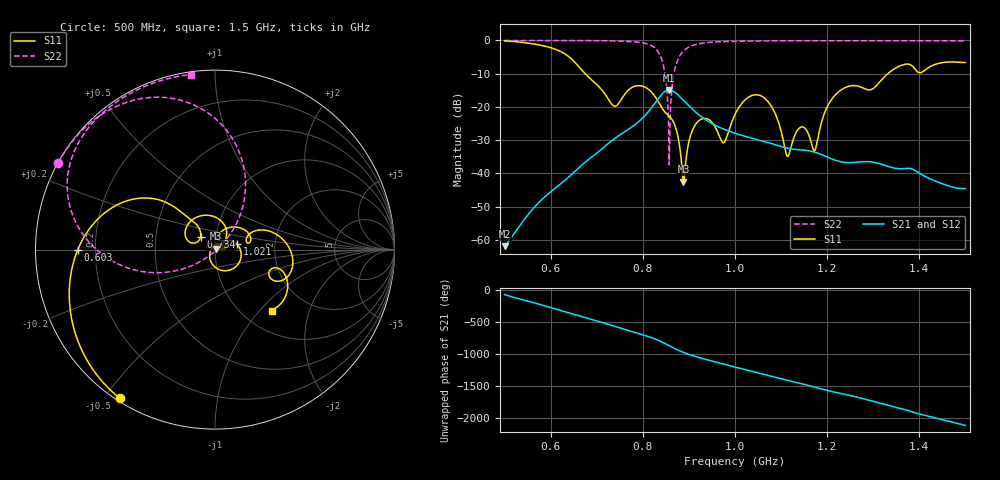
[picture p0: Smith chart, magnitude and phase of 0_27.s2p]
! TOUCHSTONE file generated by CST MICROWAVE STUDIO
! Date and time: Mon Sep 28 14:12:26 2020
! Project name: Scenario_1_Free_SPace.cst
! Parameters = {dx1=623.6; L_HA=400; MT=2.54; Rad_Dielectric=30; Rad_Lower=7.3; Rad_Upper=30; a_HA=580; a_WG=246; b_HA=500; b_WG=121; c_HA=0; c_WG=187; d_feed=85; h_feed=15; h_lower=18; h_upper=40}
! Header version: 2018
! Port assignment regex: !\s*Touchstone port\s*([0-9]+)\s*=\s*(CST MWS port|CST DS port)\s*([0-9]+|Zmin|Zmax)\s*\(\"(.*)\"\)(\s*mode\s*([0-9]+))?.*
! Touchstone port assignment:
! Touchstone port 1 = CST MWS port 1 ("")
! Touchstone port 2 = CST MWS port 2 ("")
# GHz S DB R 50
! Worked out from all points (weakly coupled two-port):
!   1003 points, 500 MHz to 1.5 GHz, reference 50 ohm
!   highest |S21| = -14.87 dB at 857 MHz (marker M1); lowest = -61.8 dB at 500 MHz (marker M2)
!   lowest |S11| = -42.4 dB at 888 MHz (marker M3), VSWR 1.02, Z = 50.6 + j0.484 ohm
!   |S11| at or under -10 dB: 674.8 MHz to 1.332 GHz (656.7 MHz wide, 65.5 % of centre)
!   |S22| runs from -37.4 to 0.0 dB; largest |S21 - S12| = 4.9e-06
!   S11 on the Smith chart (normalised r, x): 500 MHz: 0.01, -0.55; 603 MHz: 0.13, -0.00; 734 MHz: 0.84, +0.12; 1.021 GHz: 1.28, +0.08; 1.5 GHz: 1.35, -1.17
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0.5  -0.15 -122.6  -61.85 -76.4  -61.85 -76.4  -0.01 151.1
0.603  -2.32 -179.7  -45.17 74.8  -45.17 74.8  -0.02 143.9
0.667  -8.81 135.2  -37.51 -56.8  -37.51 -56.8  -0.04 138.3
0.734  -19.38 138.3  -29.98 160.1  -29.98 160.1  -0.15 130.1
0.789  -13.61 129.5  -24.65 40.6  -24.65 40.6  -0.51 117.4
0.834  -18.52 56.8  -17.42 -69.1  -17.42 -69.1  -3.59 83.9
0.847  -21.38 45.3  -15.43 -114.1  -15.43 -114.1  -9.16 61.3
0.857  -22.68 35.4  -14.87 -152.7  -14.87 -152.7  -37.39 12.0
0.868  -25.01 14.9  -15.44 166.1  -15.44 166.1  -9.58 -157.2
0.888  -42.43 39.2  -17.99 103.4  -17.99 103.4  -3.20 177.5
0.918  -24.60 61.5  -21.94 31.5  -21.94 31.5  -1.11 159.0
0.945  -23.98 13.2  -24.57 -22.6  -24.57 -22.6  -0.58 150.2
0.975  -30.76 19.2  -26.62 -78.8  -26.62 -78.8  -0.36 144.0
1  -22.26 40.8  -27.90 -124.6  -27.90 -124.6  -0.26 140.2
1.021  -17.96 13.4  -28.79 -163.0  -28.79 -163.0  -0.21 137.5
1.073  -18.60 -75.6  -30.76 101.4  -30.76 101.4  -0.14 132.1
1.114  -34.90 142.0  -32.41 29.0  -32.41 29.0  -0.11 128.5
1.143  -26.07 26.3  -32.89 -21.1  -32.89 -21.1  -0.10 126.1
1.167  -31.53 13.4  -33.36 -67.0  -33.36 -67.0  -0.10 124.2
1.221  -15.91 51.8  -36.16 -163.4  -36.16 -163.4  -0.09 120.0
1.334  -9.72 17.8  -37.93 -6.1  -37.93 -6.1  -0.09 111.5
1.5  -6.66 -47.0  -44.51 45.1  -44.51 45.1  -0.14 97.8
